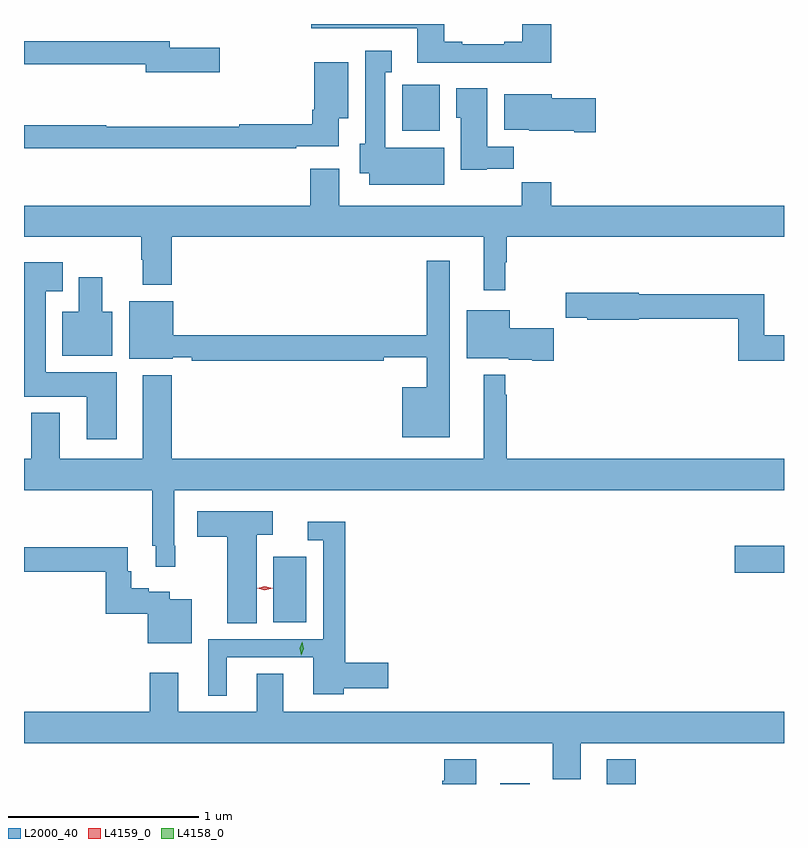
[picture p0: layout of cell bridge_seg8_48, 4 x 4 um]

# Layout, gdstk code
import gdstk
lib = gdstk.Library(unit=1e-6, precision=1e-09)
def R(c, l, rs):  # rectangles x0, y0, x1, y1
    for r in rs: c.add(gdstk.rectangle(r[:2], r[2:], *l))
def P(c, l, *ps):  # polygons
    for p in ps: c.add(gdstk.Polygon(p, *l))
L2000_40 = (2000, 40)
L4158_0 = (4158, 0)
L4159_0 = (4159, 0)

bridge_seg8_48 = lib.new_cell('bridge_seg8_48')
R(bridge_seg8_48, L2000_40, [(1036.341,1117.617,1036.497,1117.621), (1036.901,1117.617,1037.054,1117.747), (1035.146,1118.468,1035.319,1118.812), (1037.574,1118.729,1037.834,1118.871), (1035.824,1121.054,1036.021,1121.296)])
P(bridge_seg8_48, L2000_40, [(1036.61,1121.617),(1036.457,1121.617),(1036.457,1121.524),(1036.361,1121.524),(1036.361,1121.511),(1036.141,1121.511),(1036.141,1121.524),(1036.045,1121.524),(1036.045,1121.617),(1035.345,1121.617),(1035.345,1121.595),(1035.905,1121.595),(1035.905,1121.414),(1036.61,1121.414)],
  [(1034.863,1121.493),(1034.602,1121.493),(1034.602,1121.527),(1033.834,1121.527),(1033.834,1121.406),(1034.474,1121.406),(1034.474,1121.363),(1034.863,1121.363)],
  [(1036.045,1120.966),(1035.736,1120.966),(1035.736,1121.363),(1035.769,1121.363),(1035.769,1121.476),(1035.629,1121.476),(1035.629,1120.986),(1035.602,1120.986),(1035.602,1120.832),(1035.65,1120.832),(1035.65,1120.772),(1036.045,1120.772)],
  [(1035.266,1120.974),(1035.49,1120.974),(1035.49,1121.12),(1035.541,1121.12),(1035.541,1121.416),(1035.362,1121.416),(1035.362,1121.167),(1035.35,1121.167),(1035.35,1121.09),(1034.966,1121.09),(1034.966,1121.075),(1034.266,1121.075),(1034.266,1121.083),(1033.834,1121.083),(1033.834,1120.962),(1035.266,1120.962)],
  [(1036.269,1120.854),(1036.412,1120.854),(1036.412,1120.972),(1036.273,1120.972),(1036.273,1121.278),(1036.109,1121.278),(1036.109,1121.124),(1036.133,1121.124),(1036.133,1120.85),(1036.269,1120.85)],
  [(1036.843,1121.225),(1036.612,1121.225),(1036.612,1121.248),(1036.361,1121.248),(1036.361,1121.06),(1036.494,1121.06),(1036.494,1121.054),(1036.73,1121.054),(1036.73,1121.047),(1036.843,1121.047)],
  [(1036.367,1120.364),(1036.375,1120.364),(1036.375,1120.496),(1037.834,1120.496),(1037.834,1120.66),(1036.61,1120.66),(1036.61,1120.784),(1036.453,1120.784),(1036.453,1120.66),(1035.493,1120.66),(1035.493,1120.855),(1035.341,1120.855),(1035.341,1120.66),(1033.834,1120.66),(1033.834,1120.496),(1034.452,1120.496),(1034.452,1120.376),(1034.459,1120.376),(1034.459,1120.244),(1034.612,1120.244),(1034.612,1120.496),(1036.253,1120.496),(1036.253,1120.215),(1036.367,1120.215)],
  [(1036.075,1120.372),(1035.954,1120.372),(1035.954,1119.98),(1034.62,1119.98),(1034.62,1120.159),(1034.387,1120.159),(1034.387,1119.854),(1034.616,1119.854),(1034.616,1119.864),(1034.716,1119.864),(1034.716,1119.844),(1035.728,1119.844),(1035.728,1119.863),(1035.954,1119.863),(1035.954,1119.706),(1035.824,1119.706),(1035.824,1119.443),(1036.075,1119.443)],
  [(1034.323,1119.784),(1033.948,1119.784),(1033.948,1120.211),(1034.038,1120.211),(1034.038,1120.363),(1033.834,1120.363),(1033.834,1119.656),(1034.165,1119.656),(1034.165,1119.432),(1034.323,1119.432)],
  [(1034.299,1120.102),(1034.245,1120.102),(1034.245,1120.285),(1034.123,1120.285),(1034.123,1120.102),(1034.036,1120.102),(1034.036,1119.872),(1034.299,1119.872)],
  [(1037.834,1119.98),(1037.729,1119.98),(1037.729,1120.195),(1037.07,1120.195),(1037.07,1120.203),(1036.686,1120.203),(1036.686,1120.07),(1036.798,1120.07),(1036.798,1120.061),(1037.07,1120.061),(1037.07,1120.066),(1037.593,1120.066),(1037.593,1119.844),(1037.834,1119.844)],
  [(1036.621,1120.016),(1036.39,1120.016),(1036.39,1120.111),(1036.163,1120.111),(1036.163,1119.857),(1036.386,1119.857),(1036.386,1119.851),(1036.508,1119.851),(1036.508,1119.845),(1036.621,1119.845)],
  [(1035.058,1118.93),(1035.142,1118.93),(1035.142,1119.052),(1034.745,1119.052),(1034.745,1118.918),(1034.903,1118.918),(1034.903,1118.464),(1035.058,1118.464)],
  [(1034.902,1118.283),(1035.356,1118.283),(1035.356,1118.09),(1035.518,1118.09),(1035.518,1118.12),(1035.751,1118.12),(1035.751,1118.255),(1035.524,1118.255),(1035.524,1118.998),(1035.327,1118.998),(1035.327,1118.901),(1035.408,1118.901),(1035.408,1118.379),(1034.804,1118.379),(1034.804,1118.082),(1034.902,1118.082)],
  [(1037.834,1119.164),(1037.834,1119.328),(1036.375,1119.328),(1036.375,1119.665),(1036.367,1119.665),(1036.367,1119.772),(1036.253,1119.772),(1036.253,1119.328),(1034.612,1119.328),(1034.612,1119.769),(1034.459,1119.769),(1034.459,1119.328),(1034.023,1119.328),(1034.023,1119.571),(1033.871,1119.571),(1033.871,1119.328),(1033.834,1119.328),(1033.834,1119.164),(1034.509,1119.164),(1034.509,1118.872),(1034.528,1118.872),(1034.528,1118.76),(1034.63,1118.76),(1034.63,1118.872),(1034.625,1118.872),(1034.625,1119.164)],
  [(1034.716,1118.59),(1034.602,1118.59),(1034.602,1118.629),(1034.49,1118.629),(1034.49,1118.648),(1034.399,1118.648),(1034.399,1118.736),(1034.38,1118.736),(1034.38,1118.863),(1033.834,1118.863),(1033.834,1118.734),(1034.263,1118.734),(1034.263,1118.512),(1034.486,1118.512),(1034.486,1118.357),(1034.716,1118.357)],
  [(1036.765,1117.832),(1037.834,1117.832),(1037.834,1117.996),(1035.199,1117.996),(1035.199,1118.198),(1035.059,1118.198),(1035.059,1117.996),(1034.647,1117.996),(1034.647,1118.203),(1034.495,1118.203),(1034.495,1117.996),(1033.834,1117.996),(1033.834,1117.832),(1036.618,1117.832),(1036.618,1117.642),(1036.765,1117.642)],
  [(1036.213,1117.747),(1036.046,1117.747),(1036.046,1117.634),(1036.034,1117.634),(1036.034,1117.617),(1036.213,1117.617)])
P(bridge_seg8_48, L4158_0, [(1035.294,1118.294),(1035.294,1118.294),(1035.286,1118.331),(1035.298,1118.366),(1035.298,1118.367),(1035.298,1118.366),(1035.306,1118.33),(1035.294,1118.294)])
P(bridge_seg8_48, L4159_0, [(1035.102,1118.638),(1035.062,1118.647),(1035.062,1118.648),(1035.062,1118.648),(1035.102,1118.658),(1035.142,1118.648),(1035.143,1118.648),(1035.142,1118.647)])

lib.write_gds('bridge_seg8_48.gds')
